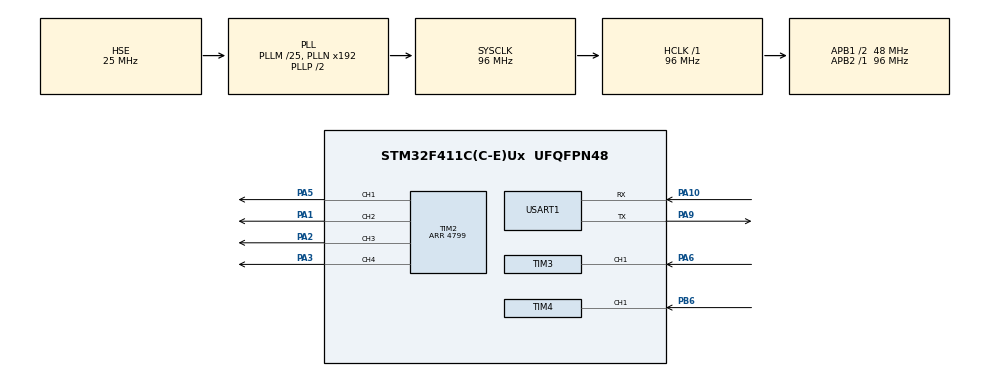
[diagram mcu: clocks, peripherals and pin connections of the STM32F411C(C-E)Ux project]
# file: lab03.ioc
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Mcu.Family=STM32F4
Mcu.Name=STM32F411C(C-E)Ux
Mcu.Package=UFQFPN48
NVIC.PriorityGroup=NVIC_PRIORITYGROUP_4
NVIC.TIM3_IRQn=true\:0\:0\:false\:false\:true\:true\:true\:true
NVIC.TIM4_IRQn=true\:0\:0\:false\:false\:true\:true\:true\:true
PA1.Signal=S_TIM2_CH2
PA10.Mode=Asynchronous
PA10.Signal=USART1_RX
PA13.Mode=Trace_Asynchronous_SW
PA13.Signal=SYS_JTMS-SWDIO
PA14.Mode=Trace_Asynchronous_SW
PA14.Signal=SYS_JTCK-SWCLK
PA2.Signal=S_TIM2_CH3
PA3.Signal=S_TIM2_CH4
PA5.Signal=S_TIM2_CH1_ETR
PA6.Signal=S_TIM3_CH1
PA9.Mode=Asynchronous
PA9.Signal=USART1_TX
PB3.Mode=Trace_Asynchronous_SW
PB3.Signal=SYS_JTDO-SWO
PB6.Signal=S_TIM4_CH1
PH0\ -\ OSC_IN.Mode=HSE-External-Oscillator
PH0\ -\ OSC_IN.Signal=RCC_OSC_IN
PH1\ -\ OSC_OUT.Mode=HSE-External-Oscillator
PH1\ -\ OSC_OUT.Signal=RCC_OSC_OUT
ProjectManager.HeapSize=0x200
ProjectManager.StackSize=0x400
ProjectManager.TargetToolchain=STM32CubeIDE
RCC.48MHZClocksFreq_Value=48000000
RCC.AHBFreq_Value=96000000
RCC.APB1CLKDivider=RCC_HCLK_DIV2
RCC.APB1Freq_Value=48000000
RCC.APB1TimFreq_Value=96000000
RCC.APB2Freq_Value=96000000
RCC.APB2TimFreq_Value=96000000
RCC.CortexFreq_Value=96000000
RCC.HCLKFreq_Value=96000000
RCC.HSE_VALUE=25000000
RCC.HSI_VALUE=16000000
RCC.LSE_VALUE=32768
RCC.PLLM=25
RCC.PLLSourceVirtual=RCC_PLLSOURCE_HSE
RCC.SYSCLKFreq_VALUE=96000000
RCC.SYSCLKSource=RCC_SYSCLKSOURCE_PLLCLK
RCC.VCOOutputFreq_Value=192000000
SH.S_TIM2_CH1_ETR.0=TIM2_CH1,PWM Generation1 CH1
SH.S_TIM2_CH2.0=TIM2_CH2,PWM Generation2 CH2
SH.S_TIM2_CH3.0=TIM2_CH3,PWM Generation3 CH3
SH.S_TIM2_CH4.0=TIM2_CH4,PWM Generation4 CH4
SH.S_TIM3_CH1.0=TIM3_CH1,PWM_Input_1
SH.S_TIM4_CH1.0=TIM4_CH1,PWM_Input_1
TIM2.Channel-PWM\ Generation1\ CH1=TIM_CHANNEL_1
TIM2.Channel-PWM\ Generation2\ CH2=TIM_CHANNEL_2
TIM2.Channel-PWM\ Generation3\ CH3=TIM_CHANNEL_3
TIM2.Channel-PWM\ Generation4\ CH4=TIM_CHANNEL_4
TIM2.OCPolarity_1=TIM_OCPOLARITY_LOW
TIM2.OCPolarity_2=TIM_OCPOLARITY_LOW
TIM2.OCPolarity_3=TIM_OCPOLARITY_LOW
TIM2.OCPolarity_4=TIM_OCPOLARITY_LOW
TIM2.Period=4799
TIM3.Period=65535 
TIM3.Prescaler=95
TIM3.TIM_MasterOutputTrigger=TIM_TRGO_OC1REF
TIM4.AutoReloadPreload=TIM_AUTORELOAD_PRELOAD_DISABLE
TIM4.Prescaler=95
USART1.VirtualMode=VM_ASYNC
VP_TIM2_VS_ClockSourceINT.Mode=Internal
VP_TIM3_VS_ClockSourceINT.Mode=Internal
VP_TIM4_VS_ClockSourceINT.Mode=Internal
board=custom

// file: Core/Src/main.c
/* USER CODE BEGIN Header */
/**
  ******************************************************************************
  * @file           : main.c
  * @brief          : Main program body
  ******************************************************************************
  * @attention
  *
  * Copyright (c) 2024 STMicroelectronics.
  * All rights reserved.
  *
  * This software is licensed under terms that can be found in the LICENSE file
  * in the root directory of this software component.
  * If no LICENSE file comes with this software, it is provided AS-IS.
  *
  ******************************************************************************
  */
/* USER CODE END Header */
#include "main.h"

/* USER CODE BEGIN Includes */
#include "motor_driver.h"
#include "radio_reciever_driver.h"
#include <stdio.h>
#include <stdlib.h>
#include <string.h>
/* USER CODE END Includes */

TIM_HandleTypeDef htim2;
TIM_HandleTypeDef htim3;
TIM_HandleTypeDef htim4;

UART_HandleTypeDef huart1;

/* USER CODE BEGIN PV */
int32_t pulse = 4799;
uint16_t pulse_rad = 0;
int32_t duty_percent;
int32_t duty_percent1;
int32_t duty_percent2;
int32_t duty_count;
int32_t duty_count1;
int32_t duty_count2;
uint8_t mot_num;

uint32_t prev_time;
uint32_t curr_time;
char my_message[200];

TIM_HandleTypeDef htim_cb;
uint8_t edge_flag = 0;
/* USER CODE END PV */

void SystemClock_Config(void);
static void MX_GPIO_Init(void);
static void MX_TIM2_Init(void);
static void MX_TIM3_Init(void);
static void MX_TIM4_Init(void);
static void MX_USART1_UART_Init(void);
/* USER CODE BEGIN PFP */
int32_t pulse_to_PWM(RadioReciever_DriverTypeDef* rad);
/* USER CODE END PFP */

int main(void)
{

  /* MCU Configuration--------------------------------------------------------*/

  /* Reset of all peripherals, Initializes the Flash interface and the Systick. */
  HAL_Init();

  /* Configure the system clock */
  SystemClock_Config();

  /* Initialize all configured peripherals */
  MX_GPIO_Init();
  MX_TIM2_Init();
  MX_TIM3_Init();
  MX_TIM4_Init();
  MX_USART1_UART_Init();
  /* USER CODE BEGIN 2 */
  // Initializing the motor driver structure and enabling the motors
  Motor_DriverTypeDef mot = { .tim_handle = &htim2,
  	  	 	  	  	  	  	  .tim_channel1 = TIM_CHANNEL_1,
							  .tim_channel2 = TIM_CHANNEL_2,
  	  	 	  	  	  	  	  .tim_channel3 = TIM_CHANNEL_3,
							  .tim_channel4 = TIM_CHANNEL_4,
							  .pulse = pulse				 };
  enable_mot(&mot,1);
  enable_mot(&mot,2);
  // Initially setting the PWM to 0 in case they had been previously been set
  mot_num = 1;
  set_PWM_percent(&mot, mot_num, 0);
  mot_num = 2;
  set_PWM_percent(&mot, mot_num, 0);

  RadioReciever_DriverTypeDef rad1 = { .tim_handle = &htim3,
	  	  	  	  	  	  	     	   .tim_channel1 = TIM_CHANNEL_1,
									   .tim_channel2 = TIM_CHANNEL_2,
									   .IC_Rise = 0,
									   .IC_Fall = 0,
									   .IC_Diff = 0,
									   .pulse_width = 0,
									   .tol = 0.1,
									   .pulse_recieve_flag = 0,
									   .rise_flag = 0					};
  RadioReciever_DriverTypeDef rad2 = { .tim_handle = &htim4,
	  	  	  	  	  	  	     	   .tim_channel1 = TIM_CHANNEL_1,
									   .tim_channel2 = TIM_CHANNEL_2,
									   .IC_Rise = 0,
									   .IC_Fall = 0,
									   .IC_Diff = 0,
									   .pulse_width = 0,
									   .tol = 0.1,
									   .pulse_recieve_flag = 0,
									   .rise_flag = 0					};
  enable_rad(&rad1);
  enable_rad(&rad2);

  prev_time = HAL_GetTick();
  /* USER CODE END 2 */

  /* Infinite loop */
  /* USER CODE BEGIN WHILE */
  while (1)
  {
	  // Reading the pulse
	  if (edge_flag){
		  read_pulse(&rad1, &htim_cb);
		  read_pulse(&rad2, &htim_cb);
		  edge_flag = 0;
	  }

	  // Calculating duty count 1 and setting motor 1 PWM
	  mot_num = 1;
	  duty_count1 = pulse_to_PWM(&rad1);
	  duty_percent1 = (duty_count1*100)/pulse;
	  set_PWM(&mot, mot_num, duty_count1);

	  // Calculating duty count 2 and setting motor 2 PWM
	  mot_num = 2;
	  duty_count2 = pulse_to_PWM(&rad2);
	  duty_percent2 = (duty_count2*100)/pulse;
	  set_PWM(&mot, mot_num, duty_count2);

	  //Printing out values
	  curr_time = HAL_GetTick();
	  if (curr_time - prev_time >= 2000){
		  sprintf(my_message,"The pulse width of channel 1 is: %ld (us).\r\n", get_pulse(&rad1));
		  HAL_UART_Transmit(&huart1, (uint8_t*) my_message, strlen(my_message), 10);
		  sprintf(my_message,"The pulse width of channel 2 is: %ld (us).\r\n", get_pulse(&rad2));
		  HAL_UART_Transmit(&huart1, (uint8_t*) my_message, strlen(my_message), 10);

		  //sprintf(my_message,"Duty Cycle 1 is: %ld (%ld percent).\r\n", duty_count1, duty_percent1);
		  //HAL_UART_Transmit(&huart1, (uint8_t*) my_message, strlen(my_message), 10);
		  //sprintf(my_message,"Duty Cycle 2 is: %ld (%ld percent).\r\n", duty_count2, duty_percent2);
		  //HAL_UART_Transmit(&huart1, (uint8_t*) my_message, strlen(my_message), 10);
		  sprintf(my_message,"\r\n");
		  HAL_UART_Transmit(&huart1, (uint8_t*) my_message, strlen(my_message), 10);
		  prev_time = curr_time;
	  }

    /* USER CODE END WHILE */

  }
}

void SystemClock_Config(void)
{
  RCC_OscInitTypeDef RCC_OscInitStruct = {0};
  RCC_ClkInitTypeDef RCC_ClkInitStruct = {0};

  /** Configure the main internal regulator output voltage
  */
  __HAL_RCC_PWR_CLK_ENABLE();
  __HAL_PWR_VOLTAGESCALING_CONFIG(PWR_REGULATOR_VOLTAGE_SCALE1);

  /** Initializes the RCC Oscillators according to the specified parameters
  * in the RCC_OscInitTypeDef structure.
  */
  RCC_OscInitStruct.OscillatorType = RCC_OSCILLATORTYPE_HSE;
  RCC_OscInitStruct.HSEState = RCC_HSE_ON;
  RCC_OscInitStruct.PLL.PLLState = RCC_PLL_ON;
  RCC_OscInitStruct.PLL.PLLSource = RCC_PLLSOURCE_HSE;
  RCC_OscInitStruct.PLL.PLLM = 25;
  RCC_OscInitStruct.PLL.PLLN = 192;
  RCC_OscInitStruct.PLL.PLLP = RCC_PLLP_DIV2;
  RCC_OscInitStruct.PLL.PLLQ = 4;
  if (HAL_RCC_OscConfig(&RCC_OscInitStruct) != HAL_OK)
  {
    Error_Handler();
  }

  /** Initializes the CPU, AHB and APB buses clocks
  */
  RCC_ClkInitStruct.ClockType = RCC_CLOCKTYPE_HCLK|RCC_CLOCKTYPE_SYSCLK
                              |RCC_CLOCKTYPE_PCLK1|RCC_CLOCKTYPE_PCLK2;
  RCC_ClkInitStruct.SYSCLKSource = RCC_SYSCLKSOURCE_PLLCLK;
  RCC_ClkInitStruct.AHBCLKDivider = RCC_SYSCLK_DIV1;
  RCC_ClkInitStruct.APB1CLKDivider = RCC_HCLK_DIV2;
  RCC_ClkInitStruct.APB2CLKDivider = RCC_HCLK_DIV1;

  if (HAL_RCC_ClockConfig(&RCC_ClkInitStruct, FLASH_LATENCY_3) != HAL_OK)
  {
    Error_Handler();
  }
}

static void MX_TIM2_Init(void)
{

  TIM_ClockConfigTypeDef sClockSourceConfig = {0};
  TIM_MasterConfigTypeDef sMasterConfig = {0};
  TIM_OC_InitTypeDef sConfigOC = {0};

  htim2.Instance = TIM2;
  htim2.Init.Prescaler = 0;
  htim2.Init.CounterMode = TIM_COUNTERMODE_UP;
  htim2.Init.Period = 4799;
  htim2.Init.ClockDivision = TIM_CLOCKDIVISION_DIV1;
  htim2.Init.AutoReloadPreload = TIM_AUTORELOAD_PRELOAD_DISABLE;
  if (HAL_TIM_Base_Init(&htim2) != HAL_OK)
  {
    Error_Handler();
  }
  sClockSourceConfig.ClockSource = TIM_CLOCKSOURCE_INTERNAL;
  if (HAL_TIM_ConfigClockSource(&htim2, &sClockSourceConfig) != HAL_OK)
  {
    Error_Handler();
  }
  if (HAL_TIM_PWM_Init(&htim2) != HAL_OK)
  {
    Error_Handler();
  }
  sMasterConfig.MasterOutputTrigger = TIM_TRGO_RESET;
  sMasterConfig.MasterSlaveMode = TIM_MASTERSLAVEMODE_DISABLE;
  if (HAL_TIMEx_MasterConfigSynchronization(&htim2, &sMasterConfig) != HAL_OK)
  {
    Error_Handler();
  }
  sConfigOC.OCMode = TIM_OCMODE_PWM1;
  sConfigOC.Pulse = 0;
  sConfigOC.OCPolarity = TIM_OCPOLARITY_LOW;
  sConfigOC.OCFastMode = TIM_OCFAST_DISABLE;
  if (HAL_TIM_PWM_ConfigChannel(&htim2, &sConfigOC, TIM_CHANNEL_1) != HAL_OK)
  {
    Error_Handler();
  }
  if (HAL_TIM_PWM_ConfigChannel(&htim2, &sConfigOC, TIM_CHANNEL_2) != HAL_OK)
  {
    Error_Handler();
  }
  if (HAL_TIM_PWM_ConfigChannel(&htim2, &sConfigOC, TIM_CHANNEL_3) != HAL_OK)
  {
    Error_Handler();
  }
  if (HAL_TIM_PWM_ConfigChannel(&htim2, &sConfigOC, TIM_CHANNEL_4) != HAL_OK)
  {
    Error_Handler();
  }
  HAL_TIM_MspPostInit(&htim2);

}

static void MX_TIM3_Init(void)
{

  TIM_ClockConfigTypeDef sClockSourceConfig = {0};
  TIM_SlaveConfigTypeDef sSlaveConfig = {0};
  TIM_IC_InitTypeDef sConfigIC = {0};
  TIM_MasterConfigTypeDef sMasterConfig = {0};

  htim3.Instance = TIM3;
  htim3.Init.Prescaler = 95;
  htim3.Init.CounterMode = TIM_COUNTERMODE_UP;
  htim3.Init.Period = 65535 ;
  htim3.Init.ClockDivision = TIM_CLOCKDIVISION_DIV1;
  htim3.Init.AutoReloadPreload = TIM_AUTORELOAD_PRELOAD_DISABLE;
  if (HAL_TIM_Base_Init(&htim3) != HAL_OK)
  {
    Error_Handler();
  }
  sClockSourceConfig.ClockSource = TIM_CLOCKSOURCE_INTERNAL;
  if (HAL_TIM_ConfigClockSource(&htim3, &sClockSourceConfig) != HAL_OK)
  {
    Error_Handler();
  }
  if (HAL_TIM_IC_Init(&htim3) != HAL_OK)
  {
    Error_Handler();
  }
  sSlaveConfig.SlaveMode = TIM_SLAVEMODE_RESET;
  sSlaveConfig.InputTrigger = TIM_TS_TI1FP1;
  sSlaveConfig.TriggerPolarity = TIM_INPUTCHANNELPOLARITY_RISING;
  sSlaveConfig.TriggerPrescaler = TIM_ICPSC_DIV1;
  sSlaveConfig.TriggerFilter = 0;
  if (HAL_TIM_SlaveConfigSynchro(&htim3, &sSlaveConfig) != HAL_OK)
  {
    Error_Handler();
  }
  sConfigIC.ICPolarity = TIM_INPUTCHANNELPOLARITY_RISING;
  sConfigIC.ICSelection = TIM_ICSELECTION_DIRECTTI;
  sConfigIC.ICPrescaler = TIM_ICPSC_DIV1;
  sConfigIC.ICFilter = 0;
  if (HAL_TIM_IC_ConfigChannel(&htim3, &sConfigIC, TIM_CHANNEL_1) != HAL_OK)
  {
    Error_Handler();
  }
  sConfigIC.ICPolarity = TIM_INPUTCHANNELPOLARITY_FALLING;
  sConfigIC.ICSelection = TIM_ICSELECTION_INDIRECTTI;
  if (HAL_TIM_IC_ConfigChannel(&htim3, &sConfigIC, TIM_CHANNEL_2) != HAL_OK)
  {
    Error_Handler();
  }
  sMasterConfig.MasterOutputTrigger = TIM_TRGO_OC1REF;
  sMasterConfig.MasterSlaveMode = TIM_MASTERSLAVEMODE_DISABLE;
  if (HAL_TIMEx_MasterConfigSynchronization(&htim3, &sMasterConfig) != HAL_OK)
  {
    Error_Handler();
  }

}

static void MX_TIM4_Init(void)
{

  TIM_ClockConfigTypeDef sClockSourceConfig = {0};
  TIM_SlaveConfigTypeDef sSlaveConfig = {0};
  TIM_IC_InitTypeDef sConfigIC = {0};
  TIM_MasterConfigTypeDef sMasterConfig = {0};

  htim4.Instance = TIM4;
  htim4.Init.Prescaler = 95;
  htim4.Init.CounterMode = TIM_COUNTERMODE_UP;
  htim4.Init.Period = 65535;
  htim4.Init.ClockDivision = TIM_CLOCKDIVISION_DIV1;
  htim4.Init.AutoReloadPreload = TIM_AUTORELOAD_PRELOAD_DISABLE;
  if (HAL_TIM_Base_Init(&htim4) != HAL_OK)
  {
    Error_Handler();
  }
  sClockSourceConfig.ClockSource = TIM_CLOCKSOURCE_INTERNAL;
  if (HAL_TIM_ConfigClockSource(&htim4, &sClockSourceConfig) != HAL_OK)
  {
    Error_Handler();
  }
  if (HAL_TIM_IC_Init(&htim4) != HAL_OK)
  {
    Error_Handler();
  }
  sSlaveConfig.SlaveMode = TIM_SLAVEMODE_RESET;
  sSlaveConfig.InputTrigger = TIM_TS_TI1FP1;
  sSlaveConfig.TriggerPolarity = TIM_INPUTCHANNELPOLARITY_RISING;
  sSlaveConfig.TriggerPrescaler = TIM_ICPSC_DIV1;
  sSlaveConfig.TriggerFilter = 0;
  if (HAL_TIM_SlaveConfigSynchro(&htim4, &sSlaveConfig) != HAL_OK)
  {
    Error_Handler();
  }
  sConfigIC.ICPolarity = TIM_INPUTCHANNELPOLARITY_RISING;
  sConfigIC.ICSelection = TIM_ICSELECTION_DIRECTTI;
  sConfigIC.ICPrescaler = TIM_ICPSC_DIV1;
  sConfigIC.ICFilter = 0;
  if (HAL_TIM_IC_ConfigChannel(&htim4, &sConfigIC, TIM_CHANNEL_1) != HAL_OK)
  {
    Error_Handler();
  }
  sConfigIC.ICPolarity = TIM_INPUTCHANNELPOLARITY_FALLING;
  sConfigIC.ICSelection = TIM_ICSELECTION_INDIRECTTI;
  if (HAL_TIM_IC_ConfigChannel(&htim4, &sConfigIC, TIM_CHANNEL_2) != HAL_OK)
  {
    Error_Handler();
  }
  sMasterConfig.MasterOutputTrigger = TIM_TRGO_RESET;
  sMasterConfig.MasterSlaveMode = TIM_MASTERSLAVEMODE_DISABLE;
  if (HAL_TIMEx_MasterConfigSynchronization(&htim4, &sMasterConfig) != HAL_OK)
  {
    Error_Handler();
  }

}

static void MX_USART1_UART_Init(void)
{

  huart1.Instance = USART1;
  huart1.Init.BaudRate = 115200;
  huart1.Init.WordLength = UART_WORDLENGTH_8B;
  huart1.Init.StopBits = UART_STOPBITS_1;
  huart1.Init.Parity = UART_PARITY_NONE;
  huart1.Init.Mode = UART_MODE_TX_RX;
  huart1.Init.HwFlowCtl = UART_HWCONTROL_NONE;
  huart1.Init.OverSampling = UART_OVERSAMPLING_16;
  if (HAL_UART_Init(&huart1) != HAL_OK)
  {
    Error_Handler();
  }

}

static void MX_GPIO_Init(void)
{

  /* GPIO Ports Clock Enable */
  __HAL_RCC_GPIOH_CLK_ENABLE();
  __HAL_RCC_GPIOA_CLK_ENABLE();
  __HAL_RCC_GPIOB_CLK_ENABLE();

}

/* USER CODE BEGIN 4 */
int32_t pulse_to_PWM(RadioReciever_DriverTypeDef* rad)
{
	  // Getting radio pulse and setting motor
	  pulse_rad = get_pulse(rad);
	  duty_percent = ((pulse_rad-1509)*100)/513;
	  duty_count = ((pulse_rad-1509)*pulse)/513;
	  if (duty_percent > 100){
		  duty_percent = 100;
		  duty_count = 4799;
	  }
	  else if (duty_percent < -100){
		  duty_percent = -100;
		  duty_count = -4799;
	  }
	  return duty_count;
}

void HAL_TIM_IC_CaptureCallback(TIM_HandleTypeDef *htim)
{
	edge_flag = 1;
	htim_cb = *htim;
}
/* USER CODE END 4 */

void Error_Handler(void)
{
  __disable_irq();
  while (1)
  {
  }
}
